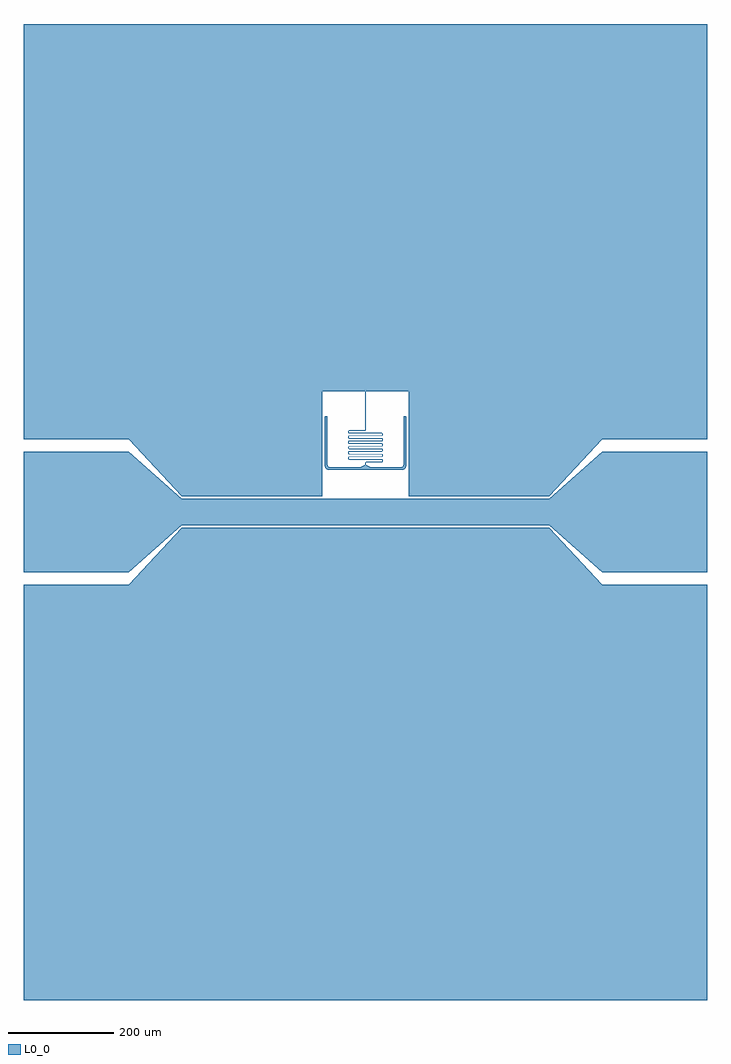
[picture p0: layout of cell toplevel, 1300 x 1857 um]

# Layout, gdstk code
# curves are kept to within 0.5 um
import gdstk
lib = gdstk.Library(unit=1e-6, precision=1e-09)
def P(c, l, *ps):  # polygons
    for p in ps: c.add(gdstk.Polygon(p, *l))
L0_0 = (0, 0)

toplevel = lib.new_cell('toplevel')
P(toplevel, L0_0, [(82.5,230.05),(82.5,30.05),(350,30.05),(450,137.954),(650,137.954),(650,928.5),(-650,928.5),(-650,137.954),(-450,137.954),(-350,30.05),(-82.5,30.05),(-82.5,230.05)],
  [(650,-928.5),(650,-137.954),(450,-137.954),(350,-30.05),(-350,-30.05),(-450,-137.954),(-650,-137.954),(-650,-928.5)],
  [(-75.109,182.548),(-76.768,181.818),(-77.498,180.159),(-77.495,90.812),(-76.51,85.287),(-73.502,81.704),(-70.509,80.455),(-66.598,80.053),(66.879,80.057),(72.263,81.039),(75.811,83.995),(77.108,87.095),(77.499,91.228),(77.5,180.05),(76.343,182.158),(73.846,182.267),(72.502,180.159),(72.493,90.72),(72.07,87.648),(70.83,85.931),(66.336,85.051),(-66.125,85.05),(-70.871,85.959),(-72.426,89.418),(-72.502,180.159),(-73.311,181.893)],
  [(0.3,90.05),(0.377,93.78),(0.737,94.414),(1.46,94.711),(30.415,94.75),(31.515,94.884),(32.052,95.15),(32.444,95.562),(32.793,96.839),(32.666,99.065),(32.311,99.713),(31.745,100.128),(30.383,100.35),(-30.793,100.362),(-31.726,100.655),(-32.142,101.4),(-32.158,103.609),(-31.977,104.152),(-31.638,104.506),(-30.392,104.75),(30.902,104.769),(32.113,105.197),(32.491,105.637),(32.717,106.221),(32.747,108.728),(32.51,109.43),(32.083,109.927),(31.387,110.252),(30.437,110.35),(-30.793,110.362),(-31.699,110.635),(-32.123,111.32),(-32.177,113.468),(-31.793,114.388),(-31.256,114.667),(-30.422,114.75),(30.891,114.768),(32.073,115.165),(32.69,116.116),(32.771,118.555),(32.607,119.227),(32.276,119.752),(31.538,120.208),(30.469,120.349),(-30.803,120.363),(-31.686,120.626),(-32.114,121.285),(-32.186,123.372),(-31.88,124.295),(-31.333,124.644),(-30.443,124.75),(30.891,124.768),(32.052,125.15),(32.673,126.058),(32.781,128.452),(32.369,129.643),(31.619,130.18),(30.48,130.349),(-30.675,130.356),(-31.417,130.485),(-31.89,130.818),(-32.14,131.391),(-32.172,133.515),(-31.969,134.167),(-31.512,134.574),(-30.744,134.741),(30.567,134.752),(31.934,135.072),(32.369,135.457),(32.658,136.012),(32.799,138.074),(32.607,139.227),(31.967,140.008),(30.88,140.333),(-30.494,140.351),(-31.558,140.548),(-32.083,141.183),(-32.2,142.9),(-32.077,143.934),(-31.645,144.502),(-30.813,144.737),(30.556,144.752),(31.902,145.053),(32.345,145.426),(32.638,145.954),(32.799,147.998),(32.612,149.215),(31.978,150.001),(30.88,150.333),(-30.494,150.351),(-31.535,150.537),(-32.065,151.133),(-32.199,152.046),(-32.104,153.849),(-31.738,154.435),(-31.022,154.714),(-1.822,154.755),(-0.598,155.053),(0.107,155.873),(0.3,157.188),(0.3,230.05),(-0.3,230.05),(-0.3,157.2),(-0.448,156.101),(-0.95,155.544),(-1.905,155.353),(-31.155,155.3),(-32.113,154.903),(-32.654,154.1),(-32.799,152.07),(-32.621,150.908),(-32.32,150.397),(-31.88,150.04),(-30.546,149.752),(30.813,149.737),(31.645,149.502),(32.077,148.934),(32.2,147.221),(32.074,146.158),(31.55,145.544),(30.494,145.351),(-30.88,145.333),(-31.967,145.008),(-32.607,144.227),(-32.799,143.052),(-32.651,140.989),(-32.361,140.447),(-31.924,140.065),(-30.556,139.752),(30.813,139.737),(31.638,139.506),(32.074,138.942),(32.2,137.962),(32.089,136.2),(31.573,135.556),(30.504,135.351),(-30.801,135.339),(-31.79,135.106),(-32.444,134.538),(-32.752,133.693),(-32.8,132.294),(-32.708,131.186),(-32.345,130.426),(-31.688,129.947),(-30.733,129.758),(30.443,129.75),(31.342,129.641),(31.895,129.276),(32.187,128.353),(32.112,126.277),(31.686,125.626),(30.803,125.363),(-30.48,125.349),(-31.596,125.188),(-32.345,124.674),(-32.778,123.486),(-32.68,121.081),(-32.062,120.157),(-30.891,119.768),(30.433,119.75),(31.291,119.657),(31.838,119.343),(32.182,118.42),(32.119,116.303),(31.693,115.631),(30.803,115.363),(-30.448,115.349),(-31.469,115.23),(-32.193,114.835),(-32.567,114.318),(-32.761,113.635),(-32.702,111.163),(-32.093,110.181),(-30.902,109.769),(30.412,109.75),(31.194,109.682),(31.726,109.445),(32.017,109.077),(32.169,108.534),(32.132,106.356),(31.706,105.64),(30.793,105.362),(-30.415,105.35),(-31.282,105.277),(-31.934,105.028),(-32.437,104.549),(-32.724,103.844),(-32.734,101.303),(-32.516,100.681),(-32.144,100.222),(-31.596,99.912),(-30.902,99.769),(30.371,99.75),(31.512,99.574),(31.91,99.256),(32.136,98.727),(32.173,96.594),(31.827,95.746),(31.012,95.385),(2.085,95.35),(1.02,95.227),(0.233,94.762),(-0.202,93.937),(-0.3,90.05)],
  [(10,85.05),(0.3,90.05),(-0.3,90.05),(-10,85.05)],
  [(-350,25.05),(-450,115),(-650,115),(-650,-115),(-450,-115),(-350,-25.05),(350,-25.05),(450,-115),(650,-115),(650,115),(450,115),(350,25.05)])

lib.write_gds('toplevel.gds')
